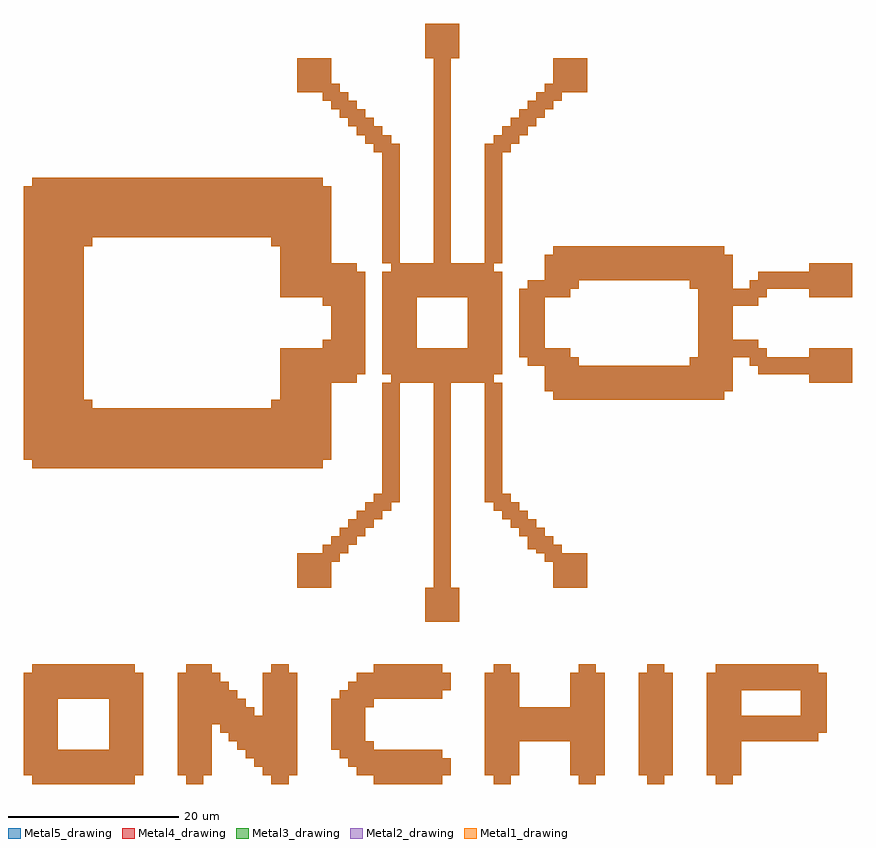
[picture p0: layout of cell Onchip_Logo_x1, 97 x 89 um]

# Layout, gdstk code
import gdstk
lib = gdstk.Library(unit=1e-6, precision=1e-09)
def R(c, l, rs):  # rectangles x0, y0, x1, y1
    for r in rs: c.add(gdstk.rectangle(r[:2], r[2:], *l))
def A(c, l, x, y, w, h, nx, ny, dx, dy):  # array of equal rectangles
    R(c, l, [(x+i*dx, y+j*dy, x+i*dx+w, y+j*dy+h) for i in range(nx) for j in range(ny)])
Metal1_drawing = (8, 0)
Metal2_drawing = (10, 0)
Metal3_drawing = (30, 0)
Metal4_drawing = (50, 0)
Metal5_drawing = (67, 0)

onchip_logo_x1 = lib.new_cell('Onchip_Logo_x1')
A(onchip_logo_x1, Metal1_drawing, 65, 0, 2, 14, 3, 1, 8, 0)
R(onchip_logo_x1, Metal1_drawing, [(1,0,4,14), (4,0,10,4), (10,0,13,14), (19,0,21,14), (29,0,31,14), (41,0,49,4), (55,0,57,14), (0,1,1,13), (13,1,14,13), (18,1,19,13), (21,1,22,14), (28,1,29,13), (31,1,32,13), (39,1,40,13), (40,1,41,5), (49,1,50,3), (54,1,55,13), (57,1,58,13), (64,1,65,13), (67,1,68,13), (72,1,73,13), (75,1,76,13), (80,1,81,13), (83,1,84,14), (27,2,28,8), (38,2,39,12), (26,3,27,9), (37,3,38,11), (25,4,26,10), (36,4,37,10), (24,5,25,11), (58,5,64,9), (84,5,91,8), (91,5,93,14), (23,6,24,12), (93,6,94,13), (22,7,23,13), (40,9,41,13), (4,10,10,14), (41,10,49,14), (49,11,50,13), (84,11,91,14), (47,19,48,23), (48,19,50,51), (50,19,51,23), (32,23,35,27), (35,23,36,28), (62,23,63,28), (63,23,66,27), (36,26,37,29), (61,26,62,29), (37,27,38,30), (60,27,61,30), (59,27.5,60,31), (38,28,39,31), (39,29,40,32), (58,29,59,32), (40,30,41,33), (57,30,58,33), (41,31,42,34), (56,31,57,34), (42,32,43,47), (55,32,56,47), (43,33,44,75), (54,33,55,75), (1,37,7,71), (7,37,8,45), (8,37,29,44), (29,37,30,45), (30,37,35,51), (0,38,1,70), (35,38,36,52), (62,45,64,51), (64,45,65,50), (65,45,78,49), (78,45,79,50), (79,45,82,63), (61,46,62,51), (82,46,83,62), (36,47,39,61), (44,47,46,61), (46,47,48,51), (50,47,52,51), (52,47,54,61), (92,47,97,51), (39,48,40,60), (42,48,43,60), (55,48,56,60), (86,48,87,51), (87,48,92,50), (59,49,61,59), (85,49,86,52), (58,50,59,58), (83,50,85,52), (35,56,36,70), (83,56,85,58), (85,56,86,59), (30,57,35,71), (46,57,48,61), (48,57,50,89), (50,57,52,61), (61,57,62,62), (62,57,64,63), (86,57,87,60), (92,57,97,61), (64,58,65,63), (78,58,79,63), (87,58,92,60), (65,59,78,63), (42,61,43,76), (55,61,56,76), (7,63,8,71), (29,63,30,71), (8,64,29,71), (41,74,42,77), (41,74,42,77), (56,74,57,77), (40,75,41,78), (57,75,58,78), (39,76,40,79), (58,76,59,79), (38,77,39,80), (59,77,60,80), (37,78,38,81), (60,78,61,81), (36,79,37,82), (61,79,62,82), (61,79,62,82), (35,80,36,85), (62,80,63,85), (32,81,35,85), (63,81,66,85), (47,85,48,89), (50,85,51,89)])
A(onchip_logo_x1, Metal2_drawing, 65, 0, 2, 14, 3, 1, 8, 0)
R(onchip_logo_x1, Metal2_drawing, [(1,0,4,14), (4,0,10,4), (10,0,13,14), (19,0,21,14), (29,0,31,14), (41,0,49,4), (55,0,57,14), (0,1,1,13), (13,1,14,13), (18,1,19,13), (21,1,22,14), (28,1,29,13), (31,1,32,13), (39,1,40,13), (40,1,41,5), (49,1,50,3), (54,1,55,13), (57,1,58,13), (64,1,65,13), (67,1,68,13), (72,1,73,13), (75,1,76,13), (80,1,81,13), (83,1,84,14), (27,2,28,8), (38,2,39,12), (26,3,27,9), (37,3,38,11), (25,4,26,10), (36,4,37,10), (24,5,25,11), (58,5,64,9), (84,5,91,8), (91,5,93,14), (23,6,24,12), (93,6,94,13), (22,7,23,13), (40,9,41,13), (4,10,10,14), (41,10,49,14), (49,11,50,13), (84,11,91,14), (47,19,48,23), (48,19,50,51), (50,19,51,23), (32,23,35,27), (35,23,36,28), (62,23,63,28), (63,23,66,27), (36,26,37,29), (61,26,62,29), (37,27,38,30), (60,27,61,30), (59,27.5,60,31), (38,28,39,31), (39,29,40,32), (58,29,59,32), (40,30,41,33), (57,30,58,33), (41,31,42,34), (56,31,57,34), (42,32,43,47), (55,32,56,47), (43,33,44,75), (54,33,55,75), (1,37,7,71), (7,37,8,45), (8,37,29,44), (29,37,30,45), (30,37,35,51), (0,38,1,70), (35,38,36,52), (62,45,64,51), (64,45,65,50), (65,45,78,49), (78,45,79,50), (79,45,82,63), (61,46,62,51), (82,46,83,62), (36,47,39,61), (44,47,46,61), (46,47,48,51), (50,47,52,51), (52,47,54,61), (92,47,97,51), (39,48,40,60), (42,48,43,60), (55,48,56,60), (86,48,87,51), (87,48,92,50), (59,49,61,59), (85,49,86,52), (58,50,59,58), (83,50,85,52), (35,56,36,70), (83,56,85,58), (85,56,86,59), (30,57,35,71), (46,57,48,61), (48,57,50,89), (50,57,52,61), (61,57,62,62), (62,57,64,63), (86,57,87,60), (92,57,97,61), (64,58,65,63), (78,58,79,63), (87,58,92,60), (65,59,78,63), (42,61,43,76), (55,61,56,76), (7,63,8,71), (29,63,30,71), (8,64,29,71), (41,74,42,77), (41,74,42,77), (56,74,57,77), (40,75,41,78), (57,75,58,78), (39,76,40,79), (58,76,59,79), (38,77,39,80), (59,77,60,80), (37,78,38,81), (60,78,61,81), (36,79,37,82), (61,79,62,82), (61,79,62,82), (35,80,36,85), (62,80,63,85), (32,81,35,85), (63,81,66,85), (47,85,48,89), (50,85,51,89)])
A(onchip_logo_x1, Metal3_drawing, 65, 0, 2, 14, 3, 1, 8, 0)
R(onchip_logo_x1, Metal3_drawing, [(1,0,4,14), (4,0,10,4), (10,0,13,14), (19,0,21,14), (29,0,31,14), (41,0,49,4), (55,0,57,14), (0,1,1,13), (13,1,14,13), (18,1,19,13), (21,1,22,14), (28,1,29,13), (31,1,32,13), (39,1,40,13), (40,1,41,5), (49,1,50,3), (54,1,55,13), (57,1,58,13), (64,1,65,13), (67,1,68,13), (72,1,73,13), (75,1,76,13), (80,1,81,13), (83,1,84,14), (27,2,28,8), (38,2,39,12), (26,3,27,9), (37,3,38,11), (25,4,26,10), (36,4,37,10), (24,5,25,11), (58,5,64,9), (84,5,91,8), (91,5,93,14), (23,6,24,12), (93,6,94,13), (22,7,23,13), (40,9,41,13), (4,10,10,14), (41,10,49,14), (49,11,50,13), (84,11,91,14), (47,19,48,23), (48,19,50,51), (50,19,51,23), (32,23,35,27), (35,23,36,28), (62,23,63,28), (63,23,66,27), (36,26,37,29), (61,26,62,29), (37,27,38,30), (60,27,61,30), (59,27.5,60,31), (38,28,39,31), (39,29,40,32), (58,29,59,32), (40,30,41,33), (57,30,58,33), (41,31,42,34), (56,31,57,34), (42,32,43,47), (55,32,56,47), (43,33,44,75), (54,33,55,75), (1,37,7,71), (7,37,8,45), (8,37,29,44), (29,37,30,45), (30,37,35,51), (0,38,1,70), (35,38,36,52), (62,45,64,51), (64,45,65,50), (65,45,78,49), (78,45,79,50), (79,45,82,63), (61,46,62,51), (82,46,83,62), (36,47,39,61), (44,47,46,61), (46,47,48,51), (50,47,52,51), (52,47,54,61), (92,47,97,51), (39,48,40,60), (42,48,43,60), (55,48,56,60), (86,48,87,51), (87,48,92,50), (59,49,61,59), (85,49,86,52), (58,50,59,58), (83,50,85,52), (35,56,36,70), (83,56,85,58), (85,56,86,59), (30,57,35,71), (46,57,48,61), (48,57,50,89), (50,57,52,61), (61,57,62,62), (62,57,64,63), (86,57,87,60), (92,57,97,61), (64,58,65,63), (78,58,79,63), (87,58,92,60), (65,59,78,63), (42,61,43,76), (55,61,56,76), (7,63,8,71), (29,63,30,71), (8,64,29,71), (41,74,42,77), (41,74,42,77), (56,74,57,77), (40,75,41,78), (57,75,58,78), (39,76,40,79), (58,76,59,79), (38,77,39,80), (59,77,60,80), (37,78,38,81), (60,78,61,81), (36,79,37,82), (61,79,62,82), (61,79,62,82), (35,80,36,85), (62,80,63,85), (32,81,35,85), (63,81,66,85), (47,85,48,89), (50,85,51,89)])
A(onchip_logo_x1, Metal4_drawing, 65, 0, 2, 14, 3, 1, 8, 0)
R(onchip_logo_x1, Metal4_drawing, [(1,0,4,14), (4,0,10,4), (10,0,13,14), (19,0,21,14), (29,0,31,14), (41,0,49,4), (55,0,57,14), (0,1,1,13), (13,1,14,13), (18,1,19,13), (21,1,22,14), (28,1,29,13), (31,1,32,13), (39,1,40,13), (40,1,41,5), (49,1,50,3), (54,1,55,13), (57,1,58,13), (64,1,65,13), (67,1,68,13), (72,1,73,13), (75,1,76,13), (80,1,81,13), (83,1,84,14), (27,2,28,8), (38,2,39,12), (26,3,27,9), (37,3,38,11), (25,4,26,10), (36,4,37,10), (24,5,25,11), (58,5,64,9), (84,5,91,8), (91,5,93,14), (23,6,24,12), (93,6,94,13), (22,7,23,13), (40,9,41,13), (4,10,10,14), (41,10,49,14), (49,11,50,13), (84,11,91,14), (47,19,48,23), (48,19,50,51), (50,19,51,23), (32,23,35,27), (35,23,36,28), (62,23,63,28), (63,23,66,27), (36,26,37,29), (61,26,62,29), (37,27,38,30), (60,27,61,30), (59,27.5,60,31), (38,28,39,31), (39,29,40,32), (58,29,59,32), (40,30,41,33), (57,30,58,33), (41,31,42,34), (56,31,57,34), (42,32,43,47), (55,32,56,47), (43,33,44,75), (54,33,55,75), (1,37,7,71), (7,37,8,45), (8,37,29,44), (29,37,30,45), (30,37,35,51), (0,38,1,70), (35,38,36,52), (62,45,64,51), (64,45,65,50), (65,45,78,49), (78,45,79,50), (79,45,82,63), (61,46,62,51), (82,46,83,62), (36,47,39,61), (44,47,46,61), (46,47,48,51), (50,47,52,51), (52,47,54,61), (92,47,97,51), (39,48,40,60), (42,48,43,60), (55,48,56,60), (86,48,87,51), (87,48,92,50), (59,49,61,59), (85,49,86,52), (58,50,59,58), (83,50,85,52), (35,56,36,70), (83,56,85,58), (85,56,86,59), (30,57,35,71), (46,57,48,61), (48,57,50,89), (50,57,52,61), (61,57,62,62), (62,57,64,63), (86,57,87,60), (92,57,97,61), (64,58,65,63), (78,58,79,63), (87,58,92,60), (65,59,78,63), (42,61,43,76), (55,61,56,76), (7,63,8,71), (29,63,30,71), (8,64,29,71), (41,74,42,77), (41,74,42,77), (56,74,57,77), (40,75,41,78), (57,75,58,78), (39,76,40,79), (58,76,59,79), (38,77,39,80), (59,77,60,80), (37,78,38,81), (60,78,61,81), (36,79,37,82), (61,79,62,82), (61,79,62,82), (35,80,36,85), (62,80,63,85), (32,81,35,85), (63,81,66,85), (47,85,48,89), (50,85,51,89)])
A(onchip_logo_x1, Metal5_drawing, 65, 0, 2, 14, 3, 1, 8, 0)
R(onchip_logo_x1, Metal5_drawing, [(1,0,4,14), (4,0,10,4), (10,0,13,14), (19,0,21,14), (29,0,31,14), (41,0,49,4), (55,0,57,14), (0,1,1,13), (13,1,14,13), (18,1,19,13), (21,1,22,14), (28,1,29,13), (31,1,32,13), (39,1,40,13), (40,1,41,5), (49,1,50,3), (54,1,55,13), (57,1,58,13), (64,1,65,13), (67,1,68,13), (72,1,73,13), (75,1,76,13), (80,1,81,13), (83,1,84,14), (27,2,28,8), (38,2,39,12), (26,3,27,9), (37,3,38,11), (25,4,26,10), (36,4,37,10), (24,5,25,11), (58,5,64,9), (84,5,91,8), (91,5,93,14), (23,6,24,12), (93,6,94,13), (22,7,23,13), (40,9,41,13), (4,10,10,14), (41,10,49,14), (49,11,50,13), (84,11,91,14), (47,19,48,23), (48,19,50,51), (50,19,51,23), (32,23,35,27), (35,23,36,28), (62,23,63,28), (63,23,66,27), (36,26,37,29), (61,26,62,29), (37,27,38,30), (60,27,61,30), (59,27.5,60,31), (38,28,39,31), (39,29,40,32), (58,29,59,32), (40,30,41,33), (57,30,58,33), (41,31,42,34), (56,31,57,34), (42,32,43,47), (55,32,56,47), (43,33,44,75), (54,33,55,75), (1,37,7,71), (7,37,8,45), (8,37,29,44), (29,37,30,45), (30,37,35,51), (0,38,1,70), (35,38,36,52), (62,45,64,51), (64,45,65,50), (65,45,78,49), (78,45,79,50), (79,45,82,63), (61,46,62,51), (82,46,83,62), (36,47,39,61), (44,47,46,61), (46,47,48,51), (50,47,52,51), (52,47,54,61), (92,47,97,51), (39,48,40,60), (42,48,43,60), (55,48,56,60), (86,48,87,51), (87,48,92,50), (59,49,61,59), (85,49,86,52), (58,50,59,58), (83,50,85,52), (35,56,36,70), (83,56,85,58), (85,56,86,59), (30,57,35,71), (46,57,48,61), (48,57,50,89), (50,57,52,61), (61,57,62,62), (62,57,64,63), (86,57,87,60), (92,57,97,61), (64,58,65,63), (78,58,79,63), (87,58,92,60), (65,59,78,63), (42,61,43,76), (55,61,56,76), (7,63,8,71), (29,63,30,71), (8,64,29,71), (41,74,42,77), (41,74,42,77), (56,74,57,77), (40,75,41,78), (57,75,58,78), (39,76,40,79), (58,76,59,79), (38,77,39,80), (59,77,60,80), (37,78,38,81), (60,78,61,81), (36,79,37,82), (61,79,62,82), (61,79,62,82), (35,80,36,85), (62,80,63,85), (32,81,35,85), (63,81,66,85), (47,85,48,89), (50,85,51,89)])

lib.write_gds('Onchip_Logo_x1.gds')
